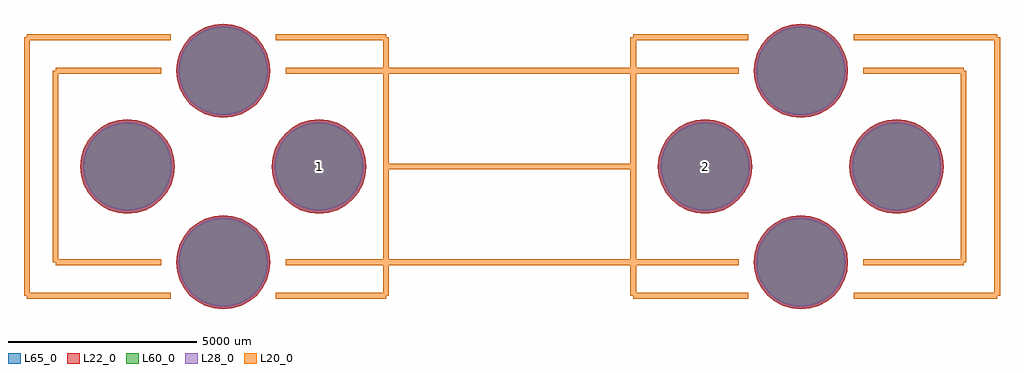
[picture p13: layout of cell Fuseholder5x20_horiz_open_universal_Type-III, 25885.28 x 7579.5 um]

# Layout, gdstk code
import gdstk
lib = gdstk.Library(unit=1e-6, precision=1e-09)
def P(c, l, *ps):  # polygons
    for p in ps: c.add(gdstk.Polygon(p, *l))
L20_0 = (20, 0)
L22_0 = (22, 0)
L28_0 = (28, 0)
L60_0 = (60, 0)
L65_0 = (65, 0)

fuseholder5x20_horiz_ope = lib.new_cell('Fuseholder5x20_horiz_open_universal_Type-III')
P(fuseholder5x20_horiz_ope, L22_0, [(-6408.35,-2540),(-6432.364,-2296.186),(-6503.482,-2061.741),(-6618.971,-1845.676),(-6774.393,-1656.293),(-6963.776,-1500.871),(-7179.841,-1385.382),(-7414.286,-1314.264),(-7658.1,-1290.25),(-7901.914,-1314.264),(-8136.359,-1385.382),(-8352.424,-1500.871),(-8541.807,-1656.293),(-8697.229,-1845.676),(-8812.718,-2061.741),(-8883.836,-2296.186),(-8907.85,-2540),(-8883.836,-2783.814),(-8812.718,-3018.259),(-8697.229,-3234.324),(-8541.807,-3423.707),(-8352.424,-3579.129),(-8136.359,-3694.618),(-7901.914,-3765.736),(-7658.1,-3789.75),(-7414.286,-3765.736),(-7179.841,-3694.618),(-6963.776,-3579.129),(-6774.393,-3423.707),(-6618.971,-3234.324),(-6503.482,-3018.259),(-6432.364,-2783.814)],
  [(-6408.35,2540),(-6432.364,2783.814),(-6503.482,3018.259),(-6618.971,3234.324),(-6774.393,3423.707),(-6963.776,3579.129),(-7179.841,3694.618),(-7414.286,3765.736),(-7658.1,3789.75),(-7901.914,3765.736),(-8136.359,3694.618),(-8352.424,3579.129),(-8541.807,3423.707),(-8697.229,3234.324),(-8812.718,3018.259),(-8883.836,2783.814),(-8907.85,2540),(-8883.836,2296.186),(-8812.718,2061.741),(-8697.229,1845.676),(-8541.807,1656.293),(-8352.424,1500.871),(-8136.359,1385.382),(-7901.914,1314.264),(-7658.1,1290.25),(-7414.286,1314.264),(-7179.841,1385.382),(-6963.776,1500.871),(-6774.393,1656.293),(-6618.971,1845.676),(-6503.482,2061.741),(-6432.364,2296.186)],
  [(8910.39,-2540),(8886.376,-2296.186),(8815.258,-2061.741),(8699.769,-1845.676),(8544.347,-1656.293),(8354.964,-1500.871),(8138.899,-1385.382),(7904.454,-1314.264),(7660.64,-1290.25),(7416.826,-1314.264),(7182.381,-1385.382),(6966.316,-1500.871),(6776.933,-1656.293),(6621.511,-1845.676),(6506.022,-2061.741),(6434.904,-2296.186),(6410.89,-2540),(6434.904,-2783.814),(6506.022,-3018.259),(6621.511,-3234.324),(6776.933,-3423.707),(6966.316,-3579.129),(7182.381,-3694.618),(7416.826,-3765.736),(7660.64,-3789.75),(7904.454,-3765.736),(8138.899,-3694.618),(8354.964,-3579.129),(8544.347,-3423.707),(8699.769,-3234.324),(8815.258,-3018.259),(8886.376,-2783.814)],
  [(8910.39,2540),(8886.376,2783.814),(8815.258,3018.259),(8699.769,3234.324),(8544.347,3423.707),(8354.964,3579.129),(8138.899,3694.618),(7904.454,3765.736),(7660.64,3789.75),(7416.826,3765.736),(7182.381,3694.618),(6966.316,3579.129),(6776.933,3423.707),(6621.511,3234.324),(6506.022,3018.259),(6434.904,2783.814),(6410.89,2540),(6434.904,2296.186),(6506.022,2061.741),(6621.511,1845.676),(6776.933,1656.293),(6966.316,1500.871),(7182.381,1385.382),(7416.826,1314.264),(7660.64,1290.25),(7904.454,1314.264),(8138.899,1385.382),(8354.964,1500.871),(8544.347,1656.293),(8699.769,1845.676),(8815.258,2061.741),(8886.376,2296.186)],
  [(-8948.35,0),(-8972.364,243.814),(-9043.482,478.259),(-9158.971,694.324),(-9314.393,883.707),(-9503.776,1039.129),(-9719.841,1154.618),(-9954.286,1225.736),(-10198.1,1249.75),(-10441.914,1225.736),(-10676.359,1154.618),(-10892.424,1039.129),(-11081.807,883.707),(-11237.229,694.324),(-11352.718,478.259),(-11423.836,243.814),(-11447.85,0),(-11423.836,-243.814),(-11352.718,-478.259),(-11237.229,-694.324),(-11081.807,-883.707),(-10892.424,-1039.129),(-10676.359,-1154.618),(-10441.914,-1225.736),(-10198.1,-1249.75),(-9954.286,-1225.736),(-9719.841,-1154.618),(-9503.776,-1039.129),(-9314.393,-883.707),(-9158.971,-694.324),(-9043.482,-478.259),(-8972.364,-243.814)],
  [(-3868.35,0),(-3892.364,243.814),(-3963.482,478.259),(-4078.971,694.324),(-4234.393,883.707),(-4423.776,1039.129),(-4639.841,1154.618),(-4874.286,1225.736),(-5118.1,1249.75),(-5361.914,1225.736),(-5596.359,1154.618),(-5812.424,1039.129),(-6001.807,883.707),(-6157.229,694.324),(-6272.718,478.259),(-6343.836,243.814),(-6367.85,0),(-6343.836,-243.814),(-6272.718,-478.259),(-6157.229,-694.324),(-6001.807,-883.707),(-5812.424,-1039.129),(-5596.359,-1154.618),(-5361.914,-1225.736),(-5118.1,-1249.75),(-4874.286,-1225.736),(-4639.841,-1154.618),(-4423.776,-1039.129),(-4234.393,-883.707),(-4078.971,-694.324),(-3963.482,-478.259),(-3892.364,-243.814)],
  [(11450.39,0),(11426.376,243.814),(11355.258,478.259),(11239.769,694.324),(11084.347,883.707),(10894.964,1039.129),(10678.899,1154.618),(10444.454,1225.736),(10200.64,1249.75),(9956.826,1225.736),(9722.381,1154.618),(9506.316,1039.129),(9316.933,883.707),(9161.511,694.324),(9046.022,478.259),(8974.904,243.814),(8950.89,0),(8974.904,-243.814),(9046.022,-478.259),(9161.511,-694.324),(9316.933,-883.707),(9506.316,-1039.129),(9722.381,-1154.618),(9956.826,-1225.736),(10200.64,-1249.75),(10444.454,-1225.736),(10678.899,-1154.618),(10894.964,-1039.129),(11084.347,-883.707),(11239.769,-694.324),(11355.258,-478.259),(11426.376,-243.814)],
  [(6370.39,0),(6346.376,243.814),(6275.258,478.259),(6159.769,694.324),(6004.347,883.707),(5814.964,1039.129),(5598.899,1154.618),(5364.454,1225.736),(5120.64,1249.75),(4876.826,1225.736),(4642.381,1154.618),(4426.316,1039.129),(4236.933,883.707),(4081.511,694.324),(3966.022,478.259),(3894.904,243.814),(3870.89,0),(3894.904,-243.814),(3966.022,-478.259),(4081.511,-694.324),(4236.933,-883.707),(4426.316,-1039.129),(4642.381,-1154.618),(4876.826,-1225.736),(5120.64,-1249.75),(5364.454,-1225.736),(5598.899,-1154.618),(5814.964,-1039.129),(6004.347,-883.707),(6159.769,-694.324),(6275.258,-478.259),(6346.376,-243.814)])
P(fuseholder5x20_horiz_ope, L28_0, [(-6483.35,-2540),(-6505.922,-2310.818),(-6572.773,-2090.443),(-6681.331,-1887.344),(-6827.426,-1709.326),(-7005.444,-1563.231),(-7208.543,-1454.673),(-7428.918,-1387.822),(-7658.1,-1365.25),(-7887.282,-1387.822),(-8107.657,-1454.673),(-8310.756,-1563.231),(-8488.774,-1709.326),(-8634.869,-1887.344),(-8743.427,-2090.443),(-8810.278,-2310.818),(-8832.85,-2540),(-8810.278,-2769.182),(-8743.427,-2989.557),(-8634.869,-3192.656),(-8488.774,-3370.674),(-8310.756,-3516.769),(-8107.657,-3625.327),(-7887.282,-3692.178),(-7658.1,-3714.75),(-7428.918,-3692.178),(-7208.543,-3625.327),(-7005.444,-3516.769),(-6827.426,-3370.674),(-6681.331,-3192.656),(-6572.773,-2989.557),(-6505.922,-2769.182)],
  [(-6483.35,2540),(-6505.922,2769.182),(-6572.773,2989.557),(-6681.331,3192.656),(-6827.426,3370.674),(-7005.444,3516.769),(-7208.543,3625.327),(-7428.918,3692.178),(-7658.1,3714.75),(-7887.282,3692.178),(-8107.657,3625.327),(-8310.756,3516.769),(-8488.774,3370.674),(-8634.869,3192.656),(-8743.427,2989.557),(-8810.278,2769.182),(-8832.85,2540),(-8810.278,2310.818),(-8743.427,2090.443),(-8634.869,1887.344),(-8488.774,1709.326),(-8310.756,1563.231),(-8107.657,1454.673),(-7887.282,1387.822),(-7658.1,1365.25),(-7428.918,1387.822),(-7208.543,1454.673),(-7005.444,1563.231),(-6827.426,1709.326),(-6681.331,1887.344),(-6572.773,2090.443),(-6505.922,2310.818)],
  [(8835.39,-2540),(8812.818,-2310.818),(8745.967,-2090.443),(8637.409,-1887.344),(8491.314,-1709.326),(8313.296,-1563.231),(8110.197,-1454.673),(7889.822,-1387.822),(7660.64,-1365.25),(7431.458,-1387.822),(7211.083,-1454.673),(7007.984,-1563.231),(6829.966,-1709.326),(6683.871,-1887.344),(6575.313,-2090.443),(6508.462,-2310.818),(6485.89,-2540),(6508.462,-2769.182),(6575.313,-2989.557),(6683.871,-3192.656),(6829.966,-3370.674),(7007.984,-3516.769),(7211.083,-3625.327),(7431.458,-3692.178),(7660.64,-3714.75),(7889.822,-3692.178),(8110.197,-3625.327),(8313.296,-3516.769),(8491.314,-3370.674),(8637.409,-3192.656),(8745.967,-2989.557),(8812.818,-2769.182)],
  [(8835.39,2540),(8812.818,2769.182),(8745.967,2989.557),(8637.409,3192.656),(8491.314,3370.674),(8313.296,3516.769),(8110.197,3625.327),(7889.822,3692.178),(7660.64,3714.75),(7431.458,3692.178),(7211.083,3625.327),(7007.984,3516.769),(6829.966,3370.674),(6683.871,3192.656),(6575.313,2989.557),(6508.462,2769.182),(6485.89,2540),(6508.462,2310.818),(6575.313,2090.443),(6683.871,1887.344),(6829.966,1709.326),(7007.984,1563.231),(7211.083,1454.673),(7431.458,1387.822),(7660.64,1365.25),(7889.822,1387.822),(8110.197,1454.673),(8313.296,1563.231),(8491.314,1709.326),(8637.409,1887.344),(8745.967,2090.443),(8812.818,2310.818)],
  [(-9023.35,0),(-9045.922,229.182),(-9112.773,449.557),(-9221.331,652.656),(-9367.426,830.674),(-9545.444,976.769),(-9748.543,1085.327),(-9968.918,1152.178),(-10198.1,1174.75),(-10427.282,1152.178),(-10647.657,1085.327),(-10850.756,976.769),(-11028.774,830.674),(-11174.869,652.656),(-11283.427,449.557),(-11350.278,229.182),(-11372.85,0),(-11350.278,-229.182),(-11283.427,-449.557),(-11174.869,-652.656),(-11028.774,-830.674),(-10850.756,-976.769),(-10647.657,-1085.327),(-10427.282,-1152.178),(-10198.1,-1174.75),(-9968.918,-1152.178),(-9748.543,-1085.327),(-9545.444,-976.769),(-9367.426,-830.674),(-9221.331,-652.656),(-9112.773,-449.557),(-9045.922,-229.182)],
  [(-3943.35,0),(-3965.922,229.182),(-4032.773,449.557),(-4141.331,652.656),(-4287.426,830.674),(-4465.444,976.769),(-4668.543,1085.327),(-4888.918,1152.178),(-5118.1,1174.75),(-5347.282,1152.178),(-5567.657,1085.327),(-5770.756,976.769),(-5948.774,830.674),(-6094.869,652.656),(-6203.427,449.557),(-6270.278,229.182),(-6292.85,0),(-6270.278,-229.182),(-6203.427,-449.557),(-6094.869,-652.656),(-5948.774,-830.674),(-5770.756,-976.769),(-5567.657,-1085.327),(-5347.282,-1152.178),(-5118.1,-1174.75),(-4888.918,-1152.178),(-4668.543,-1085.327),(-4465.444,-976.769),(-4287.426,-830.674),(-4141.331,-652.656),(-4032.773,-449.557),(-3965.922,-229.182)],
  [(11375.39,0),(11352.818,229.182),(11285.967,449.557),(11177.409,652.656),(11031.314,830.674),(10853.296,976.769),(10650.197,1085.327),(10429.822,1152.178),(10200.64,1174.75),(9971.458,1152.178),(9751.083,1085.327),(9547.984,976.769),(9369.966,830.674),(9223.871,652.656),(9115.313,449.557),(9048.462,229.182),(9025.89,0),(9048.462,-229.182),(9115.313,-449.557),(9223.871,-652.656),(9369.966,-830.674),(9547.984,-976.769),(9751.083,-1085.327),(9971.458,-1152.178),(10200.64,-1174.75),(10429.822,-1152.178),(10650.197,-1085.327),(10853.296,-976.769),(11031.314,-830.674),(11177.409,-652.656),(11285.967,-449.557),(11352.818,-229.182)],
  [(6295.39,0),(6272.818,229.182),(6205.967,449.557),(6097.409,652.656),(5951.314,830.674),(5773.296,976.769),(5570.197,1085.327),(5349.822,1152.178),(5120.64,1174.75),(4891.458,1152.178),(4671.083,1085.327),(4467.984,976.769),(4289.966,830.674),(4143.871,652.656),(4035.313,449.557),(3968.462,229.182),(3945.89,0),(3968.462,-229.182),(4035.313,-449.557),(4143.871,-652.656),(4289.966,-830.674),(4467.984,-976.769),(4671.083,-1085.327),(4891.458,-1152.178),(5120.64,-1174.75),(5349.822,-1152.178),(5570.197,-1085.327),(5773.296,-976.769),(5951.314,-830.674),(6097.409,-652.656),(6205.967,-449.557),(6272.818,-229.182)])
P(fuseholder5x20_horiz_ope, L60_0, [(-6483.35,-2540),(-6505.922,-2310.818),(-6572.773,-2090.443),(-6681.331,-1887.344),(-6827.426,-1709.326),(-7005.444,-1563.231),(-7208.543,-1454.673),(-7428.918,-1387.822),(-7658.1,-1365.25),(-7887.282,-1387.822),(-8107.657,-1454.673),(-8310.756,-1563.231),(-8488.774,-1709.326),(-8634.869,-1887.344),(-8743.427,-2090.443),(-8810.278,-2310.818),(-8832.85,-2540),(-8810.278,-2769.182),(-8743.427,-2989.557),(-8634.869,-3192.656),(-8488.774,-3370.674),(-8310.756,-3516.769),(-8107.657,-3625.327),(-7887.282,-3692.178),(-7658.1,-3714.75),(-7428.918,-3692.178),(-7208.543,-3625.327),(-7005.444,-3516.769),(-6827.426,-3370.674),(-6681.331,-3192.656),(-6572.773,-2989.557),(-6505.922,-2769.182)],
  [(-6483.35,2540),(-6505.922,2769.182),(-6572.773,2989.557),(-6681.331,3192.656),(-6827.426,3370.674),(-7005.444,3516.769),(-7208.543,3625.327),(-7428.918,3692.178),(-7658.1,3714.75),(-7887.282,3692.178),(-8107.657,3625.327),(-8310.756,3516.769),(-8488.774,3370.674),(-8634.869,3192.656),(-8743.427,2989.557),(-8810.278,2769.182),(-8832.85,2540),(-8810.278,2310.818),(-8743.427,2090.443),(-8634.869,1887.344),(-8488.774,1709.326),(-8310.756,1563.231),(-8107.657,1454.673),(-7887.282,1387.822),(-7658.1,1365.25),(-7428.918,1387.822),(-7208.543,1454.673),(-7005.444,1563.231),(-6827.426,1709.326),(-6681.331,1887.344),(-6572.773,2090.443),(-6505.922,2310.818)],
  [(8835.39,-2540),(8812.818,-2310.818),(8745.967,-2090.443),(8637.409,-1887.344),(8491.314,-1709.326),(8313.296,-1563.231),(8110.197,-1454.673),(7889.822,-1387.822),(7660.64,-1365.25),(7431.458,-1387.822),(7211.083,-1454.673),(7007.984,-1563.231),(6829.966,-1709.326),(6683.871,-1887.344),(6575.313,-2090.443),(6508.462,-2310.818),(6485.89,-2540),(6508.462,-2769.182),(6575.313,-2989.557),(6683.871,-3192.656),(6829.966,-3370.674),(7007.984,-3516.769),(7211.083,-3625.327),(7431.458,-3692.178),(7660.64,-3714.75),(7889.822,-3692.178),(8110.197,-3625.327),(8313.296,-3516.769),(8491.314,-3370.674),(8637.409,-3192.656),(8745.967,-2989.557),(8812.818,-2769.182)],
  [(8835.39,2540),(8812.818,2769.182),(8745.967,2989.557),(8637.409,3192.656),(8491.314,3370.674),(8313.296,3516.769),(8110.197,3625.327),(7889.822,3692.178),(7660.64,3714.75),(7431.458,3692.178),(7211.083,3625.327),(7007.984,3516.769),(6829.966,3370.674),(6683.871,3192.656),(6575.313,2989.557),(6508.462,2769.182),(6485.89,2540),(6508.462,2310.818),(6575.313,2090.443),(6683.871,1887.344),(6829.966,1709.326),(7007.984,1563.231),(7211.083,1454.673),(7431.458,1387.822),(7660.64,1365.25),(7889.822,1387.822),(8110.197,1454.673),(8313.296,1563.231),(8491.314,1709.326),(8637.409,1887.344),(8745.967,2090.443),(8812.818,2310.818)],
  [(-9023.35,0),(-9045.922,229.182),(-9112.773,449.557),(-9221.331,652.656),(-9367.426,830.674),(-9545.444,976.769),(-9748.543,1085.327),(-9968.918,1152.178),(-10198.1,1174.75),(-10427.282,1152.178),(-10647.657,1085.327),(-10850.756,976.769),(-11028.774,830.674),(-11174.869,652.656),(-11283.427,449.557),(-11350.278,229.182),(-11372.85,0),(-11350.278,-229.182),(-11283.427,-449.557),(-11174.869,-652.656),(-11028.774,-830.674),(-10850.756,-976.769),(-10647.657,-1085.327),(-10427.282,-1152.178),(-10198.1,-1174.75),(-9968.918,-1152.178),(-9748.543,-1085.327),(-9545.444,-976.769),(-9367.426,-830.674),(-9221.331,-652.656),(-9112.773,-449.557),(-9045.922,-229.182)],
  [(-3943.35,0),(-3965.922,229.182),(-4032.773,449.557),(-4141.331,652.656),(-4287.426,830.674),(-4465.444,976.769),(-4668.543,1085.327),(-4888.918,1152.178),(-5118.1,1174.75),(-5347.282,1152.178),(-5567.657,1085.327),(-5770.756,976.769),(-5948.774,830.674),(-6094.869,652.656),(-6203.427,449.557),(-6270.278,229.182),(-6292.85,0),(-6270.278,-229.182),(-6203.427,-449.557),(-6094.869,-652.656),(-5948.774,-830.674),(-5770.756,-976.769),(-5567.657,-1085.327),(-5347.282,-1152.178),(-5118.1,-1174.75),(-4888.918,-1152.178),(-4668.543,-1085.327),(-4465.444,-976.769),(-4287.426,-830.674),(-4141.331,-652.656),(-4032.773,-449.557),(-3965.922,-229.182)],
  [(11375.39,0),(11352.818,229.182),(11285.967,449.557),(11177.409,652.656),(11031.314,830.674),(10853.296,976.769),(10650.197,1085.327),(10429.822,1152.178),(10200.64,1174.75),(9971.458,1152.178),(9751.083,1085.327),(9547.984,976.769),(9369.966,830.674),(9223.871,652.656),(9115.313,449.557),(9048.462,229.182),(9025.89,0),(9048.462,-229.182),(9115.313,-449.557),(9223.871,-652.656),(9369.966,-830.674),(9547.984,-976.769),(9751.083,-1085.327),(9971.458,-1152.178),(10200.64,-1174.75),(10429.822,-1152.178),(10650.197,-1085.327),(10853.296,-976.769),(11031.314,-830.674),(11177.409,-652.656),(11285.967,-449.557),(11352.818,-229.182)],
  [(6295.39,0),(6272.818,229.182),(6205.967,449.557),(6097.409,652.656),(5951.314,830.674),(5773.296,976.769),(5570.197,1085.327),(5349.822,1152.178),(5120.64,1174.75),(4891.458,1152.178),(4671.083,1085.327),(4467.984,976.769),(4289.966,830.674),(4143.871,652.656),(4035.313,449.557),(3968.462,229.182),(3945.89,0),(3968.462,-229.182),(4035.313,-449.557),(4143.871,-652.656),(4289.966,-830.674),(4467.984,-976.769),(4671.083,-1085.327),(4891.458,-1152.178),(5120.64,-1174.75),(5349.822,-1152.178),(5570.197,-1085.327),(5773.296,-976.769),(5951.314,-830.674),(6097.409,-652.656),(6205.967,-449.557),(6272.818,-229.182)])
P(fuseholder5x20_horiz_ope, L65_0, [(-6408.35,-2540),(-6432.364,-2296.186),(-6503.482,-2061.741),(-6618.971,-1845.676),(-6774.393,-1656.293),(-6963.776,-1500.871),(-7179.841,-1385.382),(-7414.286,-1314.264),(-7658.1,-1290.25),(-7901.914,-1314.264),(-8136.359,-1385.382),(-8352.424,-1500.871),(-8541.807,-1656.293),(-8697.229,-1845.676),(-8812.718,-2061.741),(-8883.836,-2296.186),(-8907.85,-2540),(-8883.836,-2783.814),(-8812.718,-3018.259),(-8697.229,-3234.324),(-8541.807,-3423.707),(-8352.424,-3579.129),(-8136.359,-3694.618),(-7901.914,-3765.736),(-7658.1,-3789.75),(-7414.286,-3765.736),(-7179.841,-3694.618),(-6963.776,-3579.129),(-6774.393,-3423.707),(-6618.971,-3234.324),(-6503.482,-3018.259),(-6432.364,-2783.814)],
  [(-6408.35,2540),(-6432.364,2783.814),(-6503.482,3018.259),(-6618.971,3234.324),(-6774.393,3423.707),(-6963.776,3579.129),(-7179.841,3694.618),(-7414.286,3765.736),(-7658.1,3789.75),(-7901.914,3765.736),(-8136.359,3694.618),(-8352.424,3579.129),(-8541.807,3423.707),(-8697.229,3234.324),(-8812.718,3018.259),(-8883.836,2783.814),(-8907.85,2540),(-8883.836,2296.186),(-8812.718,2061.741),(-8697.229,1845.676),(-8541.807,1656.293),(-8352.424,1500.871),(-8136.359,1385.382),(-7901.914,1314.264),(-7658.1,1290.25),(-7414.286,1314.264),(-7179.841,1385.382),(-6963.776,1500.871),(-6774.393,1656.293),(-6618.971,1845.676),(-6503.482,2061.741),(-6432.364,2296.186)],
  [(8910.39,-2540),(8886.376,-2296.186),(8815.258,-2061.741),(8699.769,-1845.676),(8544.347,-1656.293),(8354.964,-1500.871),(8138.899,-1385.382),(7904.454,-1314.264),(7660.64,-1290.25),(7416.826,-1314.264),(7182.381,-1385.382),(6966.316,-1500.871),(6776.933,-1656.293),(6621.511,-1845.676),(6506.022,-2061.741),(6434.904,-2296.186),(6410.89,-2540),(6434.904,-2783.814),(6506.022,-3018.259),(6621.511,-3234.324),(6776.933,-3423.707),(6966.316,-3579.129),(7182.381,-3694.618),(7416.826,-3765.736),(7660.64,-3789.75),(7904.454,-3765.736),(8138.899,-3694.618),(8354.964,-3579.129),(8544.347,-3423.707),(8699.769,-3234.324),(8815.258,-3018.259),(8886.376,-2783.814)],
  [(8910.39,2540),(8886.376,2783.814),(8815.258,3018.259),(8699.769,3234.324),(8544.347,3423.707),(8354.964,3579.129),(8138.899,3694.618),(7904.454,3765.736),(7660.64,3789.75),(7416.826,3765.736),(7182.381,3694.618),(6966.316,3579.129),(6776.933,3423.707),(6621.511,3234.324),(6506.022,3018.259),(6434.904,2783.814),(6410.89,2540),(6434.904,2296.186),(6506.022,2061.741),(6621.511,1845.676),(6776.933,1656.293),(6966.316,1500.871),(7182.381,1385.382),(7416.826,1314.264),(7660.64,1290.25),(7904.454,1314.264),(8138.899,1385.382),(8354.964,1500.871),(8544.347,1656.293),(8699.769,1845.676),(8815.258,2061.741),(8886.376,2296.186)],
  [(-8948.35,0),(-8972.364,243.814),(-9043.482,478.259),(-9158.971,694.324),(-9314.393,883.707),(-9503.776,1039.129),(-9719.841,1154.618),(-9954.286,1225.736),(-10198.1,1249.75),(-10441.914,1225.736),(-10676.359,1154.618),(-10892.424,1039.129),(-11081.807,883.707),(-11237.229,694.324),(-11352.718,478.259),(-11423.836,243.814),(-11447.85,0),(-11423.836,-243.814),(-11352.718,-478.259),(-11237.229,-694.324),(-11081.807,-883.707),(-10892.424,-1039.129),(-10676.359,-1154.618),(-10441.914,-1225.736),(-10198.1,-1249.75),(-9954.286,-1225.736),(-9719.841,-1154.618),(-9503.776,-1039.129),(-9314.393,-883.707),(-9158.971,-694.324),(-9043.482,-478.259),(-8972.364,-243.814)],
  [(-3868.35,0),(-3892.364,243.814),(-3963.482,478.259),(-4078.971,694.324),(-4234.393,883.707),(-4423.776,1039.129),(-4639.841,1154.618),(-4874.286,1225.736),(-5118.1,1249.75),(-5361.914,1225.736),(-5596.359,1154.618),(-5812.424,1039.129),(-6001.807,883.707),(-6157.229,694.324),(-6272.718,478.259),(-6343.836,243.814),(-6367.85,0),(-6343.836,-243.814),(-6272.718,-478.259),(-6157.229,-694.324),(-6001.807,-883.707),(-5812.424,-1039.129),(-5596.359,-1154.618),(-5361.914,-1225.736),(-5118.1,-1249.75),(-4874.286,-1225.736),(-4639.841,-1154.618),(-4423.776,-1039.129),(-4234.393,-883.707),(-4078.971,-694.324),(-3963.482,-478.259),(-3892.364,-243.814)],
  [(11450.39,0),(11426.376,243.814),(11355.258,478.259),(11239.769,694.324),(11084.347,883.707),(10894.964,1039.129),(10678.899,1154.618),(10444.454,1225.736),(10200.64,1249.75),(9956.826,1225.736),(9722.381,1154.618),(9506.316,1039.129),(9316.933,883.707),(9161.511,694.324),(9046.022,478.259),(8974.904,243.814),(8950.89,0),(8974.904,-243.814),(9046.022,-478.259),(9161.511,-694.324),(9316.933,-883.707),(9506.316,-1039.129),(9722.381,-1154.618),(9956.826,-1225.736),(10200.64,-1249.75),(10444.454,-1225.736),(10678.899,-1154.618),(10894.964,-1039.129),(11084.347,-883.707),(11239.769,-694.324),(11355.258,-478.259),(11426.376,-243.814)],
  [(6370.39,0),(6346.376,243.814),(6275.258,478.259),(6159.769,694.324),(6004.347,883.707),(5814.964,1039.129),(5598.899,1154.618),(5364.454,1225.736),(5120.64,1249.75),(4876.826,1225.736),(4642.381,1154.618),(4426.316,1039.129),(4236.933,883.707),(4081.511,694.324),(3966.022,478.259),(3894.904,243.814),(3870.89,0),(3894.904,-243.814),(3966.022,-478.259),(4081.511,-694.324),(4236.933,-883.707),(4426.316,-1039.129),(4642.381,-1154.618),(4876.826,-1225.736),(5120.64,-1249.75),(5364.454,-1225.736),(5598.899,-1154.618),(5814.964,-1039.129),(6004.347,-883.707),(6159.769,-694.324),(6275.258,-478.259),(6346.376,-243.814)])
fuseholder5x20_horiz_ope.add(gdstk.FlexPath([(3215.64,-2540),(3215.64,0)], 149.998, ends="flush", simple_path=True, layer=20, datatype=0))  # L20_0
fuseholder5x20_horiz_ope.add(gdstk.FlexPath([(11976.1,2540),(11976.1,-2540)], 149.998, ends="flush", simple_path=True, layer=20, datatype=0))  # L20_0
fuseholder5x20_horiz_ope.add(gdstk.FlexPath([(3215.64,0),(3215.64,2540)], 149.998, ends="flush", simple_path=True, layer=20, datatype=0))  # L20_0
fuseholder5x20_horiz_ope.add(gdstk.FlexPath([(-3342.64,-2540),(-3342.64,0)], 149.998, ends="flush", simple_path=True, layer=20, datatype=0))  # L20_0
fuseholder5x20_horiz_ope.add(gdstk.FlexPath([(-12105.64,2540),(-12105.64,-2540)], 149.998, ends="flush", simple_path=True, layer=20, datatype=0))  # L20_0
fuseholder5x20_horiz_ope.add(gdstk.FlexPath([(-3342.64,0),(-3342.64,2540)], 149.998, ends="flush", simple_path=True, layer=20, datatype=0))  # L20_0
fuseholder5x20_horiz_ope.add(gdstk.FlexPath([(-5842,2540),(5715,2540)], 149.998, ends="flush", simple_path=True, layer=20, datatype=0))  # L20_0
fuseholder5x20_horiz_ope.add(gdstk.FlexPath([(5715,-2540),(-5969,-2540)], 149.998, ends="flush", simple_path=True, layer=20, datatype=0))  # L20_0
fuseholder5x20_horiz_ope.add(gdstk.FlexPath([(-3342.64,3429),(-3342.64,2413)], 149.998, ends="flush", simple_path=True, layer=20, datatype=0))  # L20_0
fuseholder5x20_horiz_ope.add(gdstk.FlexPath([(-3342.64,-3429),(-3342.64,-2540)], 149.998, ends="flush", simple_path=True, layer=20, datatype=0))  # L20_0
fuseholder5x20_horiz_ope.add(gdstk.FlexPath([(-12867.64,3429),(-12867.64,-3429)], 149.998, ends="flush", simple_path=True, layer=20, datatype=0))  # L20_0
fuseholder5x20_horiz_ope.add(gdstk.FlexPath([(3215.64,3429),(3215.64,2540)], 149.998, ends="flush", simple_path=True, layer=20, datatype=0))  # L20_0
fuseholder5x20_horiz_ope.add(gdstk.FlexPath([(3215.64,-3429),(3215.64,-2540)], 149.998, ends="flush", simple_path=True, layer=20, datatype=0))  # L20_0
fuseholder5x20_horiz_ope.add(gdstk.FlexPath([(12867.64,3429),(12867.64,-3429)], 149.998, ends="flush", simple_path=True, layer=20, datatype=0))  # L20_0
fuseholder5x20_horiz_ope.add(gdstk.FlexPath([(11978.64,2540),(9311.64,2540)], 149.998, ends="flush", simple_path=True, layer=20, datatype=0))  # L20_0
fuseholder5x20_horiz_ope.add(gdstk.FlexPath([(12867.64,3429),(9057.64,3429)], 149.998, ends="flush", simple_path=True, layer=20, datatype=0))  # L20_0
fuseholder5x20_horiz_ope.add(gdstk.FlexPath([(11978.64,-2540),(9311.64,-2540)], 149.998, ends="flush", simple_path=True, layer=20, datatype=0))  # L20_0
fuseholder5x20_horiz_ope.add(gdstk.FlexPath([(12867.64,-3429),(9057.64,-3429)], 149.998, ends="flush", simple_path=True, layer=20, datatype=0))  # L20_0
fuseholder5x20_horiz_ope.add(gdstk.FlexPath([(3215.64,-3429),(6263.64,-3429)], 149.998, ends="flush", simple_path=True, layer=20, datatype=0))  # L20_0
fuseholder5x20_horiz_ope.add(gdstk.FlexPath([(3215.64,-2540),(6009.64,-2540)], 149.998, ends="flush", simple_path=True, layer=20, datatype=0))  # L20_0
fuseholder5x20_horiz_ope.add(gdstk.FlexPath([(3215.64,2540),(6009.64,2540)], 149.998, ends="flush", simple_path=True, layer=20, datatype=0))  # L20_0
fuseholder5x20_horiz_ope.add(gdstk.FlexPath([(3215.64,3429),(6263.64,3429)], 149.998, ends="flush", simple_path=True, layer=20, datatype=0))  # L20_0
fuseholder5x20_horiz_ope.add(gdstk.FlexPath([(-3340.1,2540),(-6007.1,2540)], 149.998, ends="flush", simple_path=True, layer=20, datatype=0))  # L20_0
fuseholder5x20_horiz_ope.add(gdstk.FlexPath([(-3340.1,3429),(-6261.1,3429)], 149.998, ends="flush", simple_path=True, layer=20, datatype=0))  # L20_0
fuseholder5x20_horiz_ope.add(gdstk.FlexPath([(-12103.1,2540),(-9309.1,2540)], 149.998, ends="flush", simple_path=True, layer=20, datatype=0))  # L20_0
fuseholder5x20_horiz_ope.add(gdstk.FlexPath([(-12865.1,3429),(-9055.1,3429)], 149.998, ends="flush", simple_path=True, layer=20, datatype=0))  # L20_0
fuseholder5x20_horiz_ope.add(gdstk.FlexPath([(-3340.1,-2540),(-6007.1,-2540)], 149.998, ends="flush", simple_path=True, layer=20, datatype=0))  # L20_0
fuseholder5x20_horiz_ope.add(gdstk.FlexPath([(-12103.1,-2540),(-9309.1,-2540)], 149.998, ends="flush", simple_path=True, layer=20, datatype=0))  # L20_0
fuseholder5x20_horiz_ope.add(gdstk.FlexPath([(-12865.1,-3429),(-9055.1,-3429)], 149.998, ends="flush", simple_path=True, layer=20, datatype=0))  # L20_0
fuseholder5x20_horiz_ope.add(gdstk.FlexPath([(-3340.1,-3429),(-6261.1,-3429)], 149.998, ends="flush", simple_path=True, layer=20, datatype=0))  # L20_0
fuseholder5x20_horiz_ope.add(gdstk.FlexPath([(-3251.2,0),(3251.2,0)], 149.998, ends="flush", simple_path=True, layer=20, datatype=0))  # L20_0
fuseholder5x20_horiz_ope.add(gdstk.Label('1', (-5118.1,0), layer=28, texttype=0))
fuseholder5x20_horiz_ope.add(gdstk.Label('2', (5120.64,0), layer=28, texttype=0))
fuseholder5x20_horiz_ope.add(gdstk.Label('type', (2540,-6350), layer=9, texttype=0))
fuseholder5x20_horiz_ope.add(gdstk.Label('devicename', (0,5080), layer=9, texttype=0))

lib.write_gds('Fuseholder5x20_horiz_open_universal_Type-III.gds')
